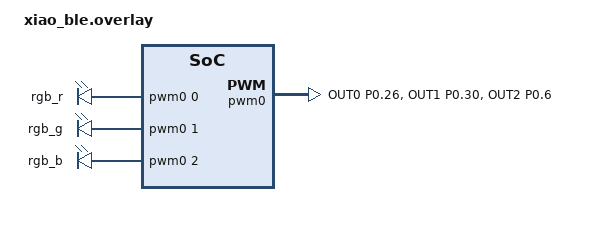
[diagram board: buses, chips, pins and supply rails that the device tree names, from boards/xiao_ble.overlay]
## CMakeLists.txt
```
cmake_minimum_required(VERSION 3.20.0)
find_package(Zephyr REQUIRED HINTS $ENV{ZEPHYR_BASE})
project(tapui)

target_sources(app PRIVATE
  src/main.c
  src/tapui/proto.c
  src/tapui/ndef.c
  src/tapui/tapui_ble.c
)
target_sources_ifdef(CONFIG_TAPUI_NFC app PRIVATE src/tapui/nfc_tag.c)
```

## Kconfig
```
mainmenu "TapUI"

config TAPUI_URL_BASE
	string "Page the NFC tag and QR code open"
	default "https://mmmaxwwwell.github.io/tapui/"
	help
	  The device appends ?n=<its advertised name>.

config TAPUI_NFC
	bool "Serve the page's link from the NFC tag"
	default y
	depends on $(dt_nodelabel_exists,nfct)
	select NRFX_NFCT

config TAPUI_TX_LINE_MAX
	int "Longest line the device sends, UI description included"
	default 1024

config TAPUI_THREAD_STACK_SIZE
	int "Stack of the thread that runs command handlers"
	default 2048

source "Kconfig.zephyr"
```

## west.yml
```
# TapUI firmware west manifest: upstream Zephyr (no NCS), only the modules
# an nRF52840 build needs. Same Zephyr tag as fieldpad/fw.
manifest:
  version: "1.2"

  remotes:
    - name: zephyrproject-rtos
      url-base: https://github.com/zephyrproject-rtos

  projects:
    - name: zephyr
      remote: zephyrproject-rtos
      revision: v4.5.0-rc2
      import:
        name-allowlist:
          - cmsis
          - cmsis_6
          - hal_nordic
          - picolibc
          - segger

  self:
    path: fw
```

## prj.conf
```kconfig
CONFIG_BT=y
CONFIG_BT_PERIPHERAL=y
CONFIG_BT_DEVICE_NAME="TapUI"
CONFIG_BT_DEVICE_NAME_DYNAMIC=y
CONFIG_BT_DEVICE_NAME_MAX=16

# Bigger notifications once the phone raises the MTU (Android does): the UI
# line goes out in a few packets instead of dozens of 20-byte ones.
CONFIG_BT_L2CAP_TX_MTU=247
CONFIG_BT_BUF_ACL_RX_SIZE=251
CONFIG_BT_BUF_ACL_TX_SIZE=251
CONFIG_BT_CTLR_DATA_LENGTH_MAX=251

CONFIG_PWM=y
CONFIG_SENSOR=y

CONFIG_LOG=y
CONFIG_MAIN_STACK_SIZE=2048
CONFIG_SYSTEM_WORKQUEUE_STACK_SIZE=2048
```

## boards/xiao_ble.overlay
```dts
/* The RGB LED on PWM so the demo can dim it: three channels of pwm0 on the
 * LED's pins (all active low). The board puts pwm0 on P0.17 by default. */
&pinctrl {
	pwm0_rgb: pwm0_rgb {
		group1 {
			psels = <NRF_PSEL(PWM_OUT0, 0, 26)>,
				<NRF_PSEL(PWM_OUT1, 0, 30)>,
				<NRF_PSEL(PWM_OUT2, 0, 6)>;
			nordic,invert;
		};
	};

	pwm0_rgb_sleep: pwm0_rgb_sleep {
		group1 {
			psels = <NRF_PSEL(PWM_OUT0, 0, 26)>,
				<NRF_PSEL(PWM_OUT1, 0, 30)>,
				<NRF_PSEL(PWM_OUT2, 0, 6)>;
			low-power-enable;
		};
	};
};

&pwm0 {
	pinctrl-0 = <&pwm0_rgb>;
	pinctrl-1 = <&pwm0_rgb_sleep>;
	pinctrl-names = "default", "sleep";
};

/ {
	rgb_pwm {
		compatible = "pwm-leds";

		rgb_r: rgb_r {
			pwms = <&pwm0 0 PWM_MSEC(1) PWM_POLARITY_NORMAL>;
		};

		rgb_g: rgb_g {
			pwms = <&pwm0 1 PWM_MSEC(1) PWM_POLARITY_NORMAL>;
		};

		rgb_b: rgb_b {
			pwms = <&pwm0 2 PWM_MSEC(1) PWM_POLARITY_NORMAL>;
		};
	};
};
```

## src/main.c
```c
/* Demo device: the XIAO nRF52840's RGB LED and die temperature, described
 * to the page as controls. A real device replaces this file; src/tapui/
 * stays as is. */
#include <stdlib.h>
#include <string.h>
#include <zephyr/drivers/pwm.h>
#include <zephyr/drivers/sensor.h>
#include <zephyr/kernel.h>
#include <zephyr/logging/log.h>

#include "tapui/tapui.h"

LOG_MODULE_REGISTER(main, LOG_LEVEL_INF);

#define UI_JSON                                                                                    \
	"{\"title\":\"XIAO demo\",\"controls\":["                                                  \
	"{\"type\":\"toggle\",\"id\":\"light\",\"label\":\"Light\"},"                              \
	"{\"type\":\"select\",\"id\":\"color\",\"label\":\"Colour\",\"options\":"                  \
	"[\"red\",\"green\",\"blue\",\"white\",\"cyan\",\"magenta\",\"yellow\"]},"                 \
	"{\"type\":\"slider\",\"id\":\"bright\",\"label\":\"Brightness\",\"min\":0,\"max\":100,"   \
	"\"step\":5,\"unit\":\"%\"},"                                                              \
	"{\"type\":\"button\",\"id\":\"blink\",\"label\":\"Blink 3 times\"},"                      \
	"{\"type\":\"readout\",\"id\":\"temp\",\"label\":\"Chip temperature\",\"unit\":\"°C\"},"   \
	"{\"type\":\"readout\",\"id\":\"uptime\",\"label\":\"Uptime\",\"unit\":\"s\"}"            \
	"]}"

static const struct {
	const char *name;
	uint8_t r, g, b;
} colors[] = {
	{"red", 1, 0, 0},  {"green", 0, 1, 0},   {"blue", 0, 0, 1},   {"white", 1, 1, 1},
	{"cyan", 0, 1, 1}, {"magenta", 1, 0, 1}, {"yellow", 1, 1, 0},
};

static const struct pwm_dt_spec rgb[] = {
	PWM_DT_SPEC_GET(DT_NODELABEL(rgb_r)),
	PWM_DT_SPEC_GET(DT_NODELABEL(rgb_g)),
	PWM_DT_SPEC_GET(DT_NODELABEL(rgb_b)),
};

static const struct device *const die_temp = DEVICE_DT_GET(DT_NODELABEL(temp));

static bool light = true;
static size_t color;
static int bright = 40;
static int blinks_left;

static void show(bool on)
{
	const uint8_t mask[] = {colors[color].r, colors[color].g, colors[color].b};

	for (size_t i = 0; i < ARRAY_SIZE(rgb); i++) {
		uint32_t pulse = (on && mask[i]) ? rgb[i].period / 100 * bright : 0;

		pwm_set_pulse_dt(&rgb[i], pulse);
	}
}

static void blink_step(struct k_work *work);
static K_WORK_DELAYABLE_DEFINE(blink_work, blink_step);

static void blink_step(struct k_work *work)
{
	ARG_UNUSED(work);
	/* Odd steps dark, even steps lit, ending lit as the toggle says. */
	blinks_left--;
	show(blinks_left % 2 == 0 ? light : !light);
	if (blinks_left > 0) {
		k_work_schedule(&blink_work, K_MSEC(200));
	}
}

static int read_temp_centi(void)
{
	struct sensor_value v;

	if (sensor_sample_fetch(die_temp) || sensor_channel_get(die_temp, SENSOR_CHAN_DIE_TEMP, &v)) {
		return INT32_MIN;
	}
	return v.val1 * 100 + v.val2 / 10000;
}

static void send_temp(void)
{
	int c = read_temp_centi();
	char buf[16];

	if (c == INT32_MIN) {
		return;
	}
	/* The nRF52's sensor steps in 0.25 °C. */
	snprintf(buf, sizeof(buf), "%d.%02d", c / 100, abs(c % 100));
	tapui_send("{\"t\":\"state\",\"id\":\"temp\",\"v\":%s}", buf);
}

static void on_hello(void)
{
	tapui_send("{\"t\":\"ui\",\"ui\":" UI_JSON "}");
	tapui_send_bool("light", light);
	tapui_send_str("color", colors[color].name);
	tapui_send_int("bright", bright);
	send_temp();
	tapui_send_int("uptime", (int)(k_uptime_get() / 1000));
}

static void on_cmd(const struct tapui_cmd *cmd)
{
	const char *id = cmd->id;

	if (cmd->op == TAPUI_OP_SET && strcmp(id, "light") == 0) {
		light = strcmp(cmd->value, "1") == 0;
		show(light);
		tapui_send_bool(id, light);
	} else if (cmd->op == TAPUI_OP_SET && strcmp(id, "color") == 0) {
		for (size_t i = 0; i < ARRAY_SIZE(colors); i++) {
			if (strcmp(cmd->value, colors[i].name) == 0) {
				color = i;
			}
		}
		show(light);
		tapui_send_str(id, colors[color].name);
	} else if (cmd->op == TAPUI_OP_SET && strcmp(id, "bright") == 0) {
		bright = CLAMP(atoi(cmd->value), 0, 100);
		show(light);
		tapui_send_int(id, bright);
	} else if (cmd->op == TAPUI_OP_PRESS && strcmp(id, "blink") == 0) {
		blinks_left = 6;
		k_work_schedule(&blink_work, K_NO_WAIT);
	} else {
		char msg[64];

		snprintf(msg, sizeof(msg), "unknown control: %s", id);
		tapui_send_err(msg);
	}
}

static const struct tapui_handlers handlers = {
	.on_hello = on_hello,
	.on_cmd = on_cmd,
};

int main(void)
{
	int err = tapui_start(&handlers);

	if (err) {
		LOG_ERR("TapUI failed to start: %d", err);
		return 0;
	}
	show(light);

	for (;;) {
		k_sleep(K_SECONDS(2));
		if (tapui_connected()) {
			send_temp();
			tapui_send_int("uptime", (int)(k_uptime_get() / 1000));
		}
	}
	return 0;
}
```
